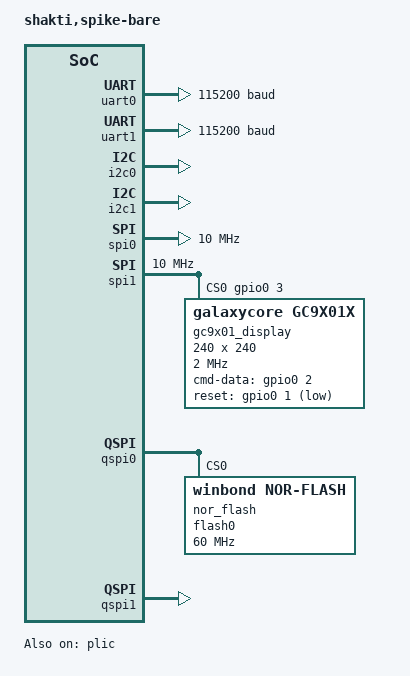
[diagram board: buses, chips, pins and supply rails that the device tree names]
/dts-v1/;

#include <secure-iot/riscv64-secure-iot.dtsi>

/ {
	model = "shakti,spike-bare";
	compatible = "shakti,spike-bare-dev";

chosen {
		zephyr,console = &uart0;
		zephyr,display = &gc9x01_display;
		zephyr,flash = &qspi0;
	};
};

&uart0 {
	status = "okay";
	base = <0x11300>;
	current-speed = <115200>;
	clock-frequency = <100000000>;
};

&uart1 {
	status = "okay";
	base = <0x11400>;
	current-speed = <115200>;
	clock-frequency = <100000000>;
};

&i2c0 {
	status = "ok";
	base = <0x44000>;
	clock_frequency = <40000000>;
	scl_frequency = <100000>;
};
&i2c1 {
	status = "ok";
	base = <0x44100>;
	clock_frequency = <40000000>;
	scl_frequency = <100000>;
};
&spi0 {
		status = "okay";
		sclk_configure = <0x0 0x0 0x10 0x0 0x0>;
        comm_configure = <0x01 0x00 0x03 0x08>;
		clock-frequency = <10000000>;
        cs-gpios = <&gpio0 10 0>;

};

&spi1 {
		status = "okay";
		sclk_configure = <0x0 0x0 0x10 0x0 0x0>;
        comm_configure = <0x01 0x00 0x03 0x08>;
		clock-frequency = <10000000>;
        cs-gpios = <&gpio0 3 GPIO_ACTIVE_HIGH>;

        gc9x01_display: gc9x01x@0 {
          compatible = "galaxycore,gc9x01x";
          reg = <0>;
          spi-max-frequency = <2000000>;
          cmd-data-gpios = <&gpio0 2 GPIO_ACTIVE_HIGH>;
          reset-gpios = <&gpio0 1 GPIO_ACTIVE_LOW>;
          pixel-format = <16>;
          width = <240>;
          height = <240>;
		  display-inversion;
        };
};

&gpio0 {
	status = "okay";
};

&plic {

	status = "okay";
	base = <0xc000000>;
};

&qspi0 {
	status = "okay";
	flash0@90000200 {
        compatible = "winbond,nor-flash";  /* Update with specific flash part number "winbond,w25q<id> nor-flash is generic" */
        reg = <0x00000000 0x90000200 0x10000>;  /* Base address 0x90000000, size 512MB (0x20000000) */
        spi-max-frequency = <60000000>;  /* Maximum SPI frequency */
        flash-size = <0x10000>;  /* Size of the flash in bytes (512MB = 0x20000000) */
        status = "okay";  /* Enable the NOR flash device */
        label = "nor_flash";  /* Arbitrary label for identification */
		bus-width = <4>;
    };
};

&qspi1 {
	status = "okay";
};
